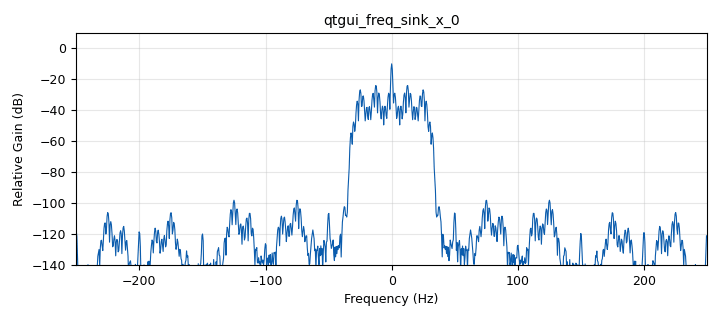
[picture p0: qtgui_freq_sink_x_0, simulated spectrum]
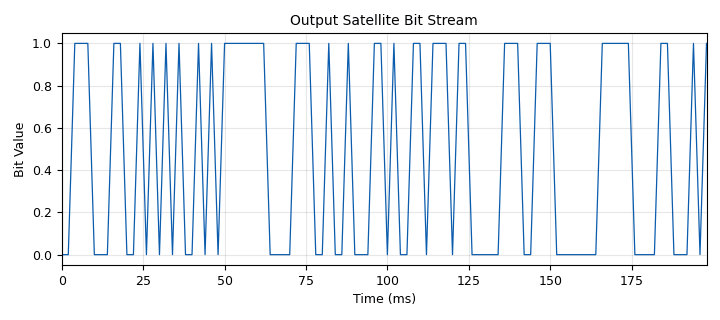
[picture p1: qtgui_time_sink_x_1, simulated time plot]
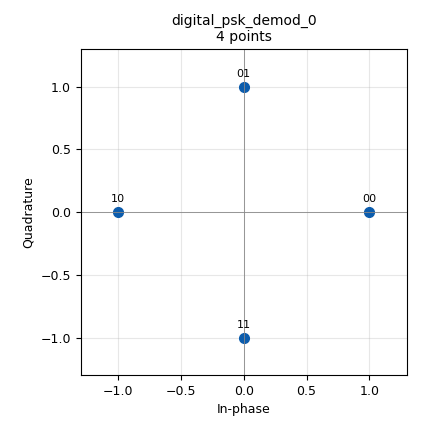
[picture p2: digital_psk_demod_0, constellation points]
<?xml version='1.0' encoding='utf-8'?>
<?grc format='1' created='3.7.11'?>
<flow_graph>
<block>
<key>options</key>
<param><key>id</key><value>ARGUS_Signal_Reception</value></param>
<param><key>generate_options</key><value>qt_gui</value></param>
<param><key>title</key><value>ARGUS_Signal_Reception</value></param>
</block>
<block>
<key>variable</key>
<param><key>id</key><value>gui_samprate</value></param>
<param><key>value</key><value>4e6</value></param>
</block>
<block>
<key>variable</key>
<param><key>id</key><value>samp_rate</value></param>
<param><key>value</key><value>500</value></param>
</block>
<block>
<key>analog_noise_source_x</key>
<param><key>id</key><value>analog_noise_source_x_0</value></param>
<param><key>amp</key><value>0</value></param>
<param><key>noise_type</key><value>analog.GR_GAUSSIAN</value></param>
<param><key>type</key><value>complex</value></param>
<param><key>seed</key><value>0</value></param>
</block>
<block>
<key>analog_random_source_x</key>
<param><key>id</key><value>analog_random_source_x_0</value></param>
<param><key>max</key><value>2</value></param>
<param><key>min</key><value>0</value></param>
<param><key>num_samps</key><value>1000</value></param>
<param><key>type</key><value>byte</value></param>
<param><key>repeat</key><value>False</value></param>
</block>
<block>
<key>blocks_add_xx</key>
<param><key>id</key><value>blocks_add_xx_0</value></param>
<param><key>type</key><value>complex</value></param>
</block>
<block>
<key>blocks_char_to_float</key>
<param><key>id</key><value>blocks_char_to_float_0</value></param>
<param><key>scale</key><value>1</value></param>
</block>
<block>
<key>blocks_char_to_float</key>
<param><key>id</key><value>blocks_char_to_float_1</value></param>
<param><key>_enabled</key><value>0</value></param>
<param><key>scale</key><value>1</value></param>
</block>
<block>
<key>blocks_file_sink</key>
<param><key>id</key><value>blocks_file_sink_0</value></param>
<param><key>file</key><value>test1</value></param>
<param><key>type</key><value>byte</value></param>
<param><key>unbuffered</key><value>True</value></param>
</block>
<block>
<key>blocks_file_sink</key>
<param><key>id</key><value>blocks_file_sink_0_0</value></param>
<param><key>file</key><value>test2</value></param>
<param><key>type</key><value>byte</value></param>
<param><key>unbuffered</key><value>True</value></param>
</block>
<block>
<key>blocks_sub_xx</key>
<param><key>id</key><value>blocks_sub_xx_0</value></param>
<param><key>_enabled</key><value>0</value></param>
<param><key>type</key><value>float</value></param>
</block>
<block>
<key>blocks_throttle</key>
<param><key>id</key><value>blocks_throttle_0</value></param>
<param><key>samples_per_second</key><value>samp_rate</value></param>
<param><key>type</key><value>byte</value></param>
</block>
<block>
<key>digital_psk_demod</key>
<param><key>id</key><value>digital_psk_demod_0</value></param>
<param><key>differential</key><value>False</value></param>
<param><key>excess_bw</key><value>0.35</value></param>
<param><key>freq_bw</key><value>6.28/100.0</value></param>
<param><key>mod_code</key><value>"none"</value></param>
<param><key>constellation_points</key><value>4</value></param>
<param><key>phase_bw</key><value>6.28/100.0</value></param>
<param><key>samples_per_symbol</key><value>10</value></param>
<param><key>timing_bw</key><value>6.28/100.0</value></param>
<param><key>verbose</key><value>True</value></param>
</block>
<block>
<key>digital_psk_mod</key>
<param><key>id</key><value>digital_psk_mod_0</value></param>
<param><key>differential</key><value>False</value></param>
<param><key>excess_bw</key><value>0.35</value></param>
<param><key>mod_code</key><value>"none"</value></param>
<param><key>constellation_points</key><value>4</value></param>
<param><key>samples_per_symbol</key><value>10</value></param>
<param><key>verbose</key><value>True</value></param>
</block>
<block>
<key>qtgui_const_sink_x</key>
<param><key>id</key><value>qtgui_const_sink_x_0</value></param>
<param><key>_enabled</key><value>0</value></param>
<param><key>size</key><value>1024</value></param>
<param><key>type</key><value>complex</value></param>
</block>
<block>
<key>qtgui_freq_sink_x</key>
<param><key>id</key><value>qtgui_freq_sink_x_0</value></param>
<param><key>bw</key><value>samp_rate</value></param>
<param><key>fc</key><value>0</value></param>
<param><key>fftsize</key><value>1024</value></param>
<param><key>showports</key><value>True</value></param>
<param><key>type</key><value>complex</value></param>
<param><key>wintype</key><value>firdes.WIN_BLACKMAN_hARRIS</value></param>
</block>
<block>
<key>qtgui_time_sink_x</key>
<param><key>id</key><value>qtgui_time_sink_x_0</value></param>
<param><key>_enabled</key><value>0</value></param>
<param><key>grid</key><value>True</value></param>
<param><key>color1</key><value>"blue"</value></param>
<param><key>label1</key><value></value></param>
<param><key>size</key><value>100</value></param>
<param><key>srate</key><value>samp_rate</value></param>
<param><key>type</key><value>float</value></param>
<param><key>ymin</key><value>0</value></param>
</block>
<block>
<key>qtgui_time_sink_x</key>
<param><key>id</key><value>qtgui_time_sink_x_1</value></param>
<param><key>autoscale</key><value>True</value></param>
<param><key>grid</key><value>True</value></param>
<param><key>color1</key><value>"blue"</value></param>
<param><key>label1</key><value></value></param>
<param><key>name</key><value>"Output Satellite Bit Stream"</value></param>
<param><key>size</key><value>100</value></param>
<param><key>srate</key><value>samp_rate</value></param>
<param><key>type</key><value>float</value></param>
<param><key>ylabel</key><value>Bit Value</value></param>
</block>
<block>
<key>qtgui_time_sink_x</key>
<param><key>id</key><value>qtgui_time_sink_x_2</value></param>
<param><key>autoscale</key><value>True</value></param>
<param><key>_enabled</key><value>0</value></param>
<param><key>grid</key><value>True</value></param>
<param><key>color1</key><value>"blue"</value></param>
<param><key>label1</key><value></value></param>
<param><key>size</key><value>1024</value></param>
<param><key>srate</key><value>samp_rate</value></param>
<param><key>type</key><value>float</value></param>
<param><key>ylabel</key><value>Difference</value></param>
</block>
<connection><source_block_id>analog_noise_source_x_0</source_block_id><sink_block_id>blocks_add_xx_0</sink_block_id><source_key>0</source_key><sink_key>1</sink_key></connection>
<connection><source_block_id>analog_random_source_x_0</source_block_id><sink_block_id>blocks_throttle_0</sink_block_id><source_key>0</source_key><sink_key>0</sink_key></connection>
<connection><source_block_id>blocks_add_xx_0</source_block_id><sink_block_id>digital_psk_demod_0</sink_block_id><source_key>0</source_key><sink_key>0</sink_key></connection>
<connection><source_block_id>blocks_add_xx_0</source_block_id><sink_block_id>qtgui_const_sink_x_0</sink_block_id><source_key>0</source_key><sink_key>0</sink_key></connection>
<connection><source_block_id>blocks_add_xx_0</source_block_id><sink_block_id>qtgui_freq_sink_x_0</sink_block_id><source_key>0</source_key><sink_key>0</sink_key></connection>
<connection><source_block_id>blocks_char_to_float_0</source_block_id><sink_block_id>blocks_sub_xx_0</sink_block_id><source_key>0</source_key><sink_key>0</sink_key></connection>
<connection><source_block_id>blocks_char_to_float_0</source_block_id><sink_block_id>qtgui_time_sink_x_1</sink_block_id><source_key>0</source_key><sink_key>0</sink_key></connection>
<connection><source_block_id>blocks_char_to_float_1</source_block_id><sink_block_id>blocks_sub_xx_0</sink_block_id><source_key>0</source_key><sink_key>1</sink_key></connection>
<connection><source_block_id>blocks_char_to_float_1</source_block_id><sink_block_id>qtgui_time_sink_x_0</sink_block_id><source_key>0</source_key><sink_key>0</sink_key></connection>
<connection><source_block_id>blocks_sub_xx_0</source_block_id><sink_block_id>qtgui_time_sink_x_2</sink_block_id><source_key>0</source_key><sink_key>0</sink_key></connection>
<connection><source_block_id>blocks_throttle_0</source_block_id><sink_block_id>blocks_char_to_float_0</sink_block_id><source_key>0</source_key><sink_key>0</sink_key></connection>
<connection><source_block_id>blocks_throttle_0</source_block_id><sink_block_id>blocks_file_sink_0</sink_block_id><source_key>0</source_key><sink_key>0</sink_key></connection>
<connection><source_block_id>blocks_throttle_0</source_block_id><sink_block_id>digital_psk_mod_0</sink_block_id><source_key>0</source_key><sink_key>0</sink_key></connection>
<connection><source_block_id>digital_psk_demod_0</source_block_id><sink_block_id>blocks_char_to_float_1</sink_block_id><source_key>0</source_key><sink_key>0</sink_key></connection>
<connection><source_block_id>digital_psk_demod_0</source_block_id><sink_block_id>blocks_file_sink_0_0</sink_block_id><source_key>0</source_key><sink_key>0</sink_key></connection>
<connection><source_block_id>digital_psk_mod_0</source_block_id><sink_block_id>blocks_add_xx_0</sink_block_id><source_key>0</source_key><sink_key>0</sink_key></connection>
</flow_graph>
